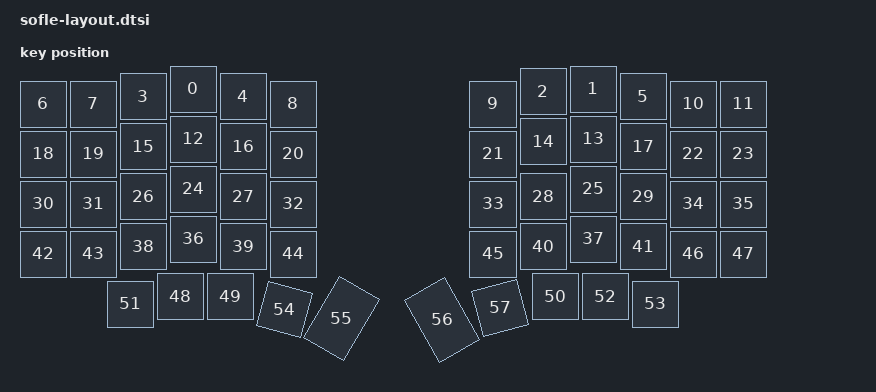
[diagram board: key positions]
#include <physical_layouts.dtsi>

/ {
    sofle_layout: sofle_layout {
        compatible = "zmk,physical-layout";
        display-name = "Default";

        keys  //                     w   h    x    y     rot    rx    ry
            = <&key_physical_attrs 100 100  300   20       0     0     0>
            , <&key_physical_attrs 100 100 1100   20       0     0     0>
            , <&key_physical_attrs 100 100 1000   25       0     0     0>
            , <&key_physical_attrs 100 100  200   35       0     0     0>
            , <&key_physical_attrs 100 100  400   35       0     0     0>
            , <&key_physical_attrs 100 100 1200   35       0     0     0>
            , <&key_physical_attrs 100 100    0   50       0     0     0>
            , <&key_physical_attrs 100 100  100   50       0     0     0>
            , <&key_physical_attrs 100 100  500   50       0     0     0>
            , <&key_physical_attrs 100 100  900   50       0     0     0>
            , <&key_physical_attrs 100 100 1300   50       0     0     0>
            , <&key_physical_attrs 100 100 1400   50       0     0     0>
            , <&key_physical_attrs 100 100  300  120       0     0     0>
            , <&key_physical_attrs 100 100 1100  120       0     0     0>
            , <&key_physical_attrs 100 100 1000  125       0     0     0>
            , <&key_physical_attrs 100 100  200  135       0     0     0>
            , <&key_physical_attrs 100 100  400  135       0     0     0>
            , <&key_physical_attrs 100 100 1200  135       0     0     0>
            , <&key_physical_attrs 100 100    0  150       0     0     0>
            , <&key_physical_attrs 100 100  100  150       0     0     0>
            , <&key_physical_attrs 100 100  500  150       0     0     0>
            , <&key_physical_attrs 100 100  900  150       0     0     0>
            , <&key_physical_attrs 100 100 1300  150       0     0     0>
            , <&key_physical_attrs 100 100 1400  150       0     0     0>
            , <&key_physical_attrs 100 100  300  220       0     0     0>
            , <&key_physical_attrs 100 100 1100  220       0     0     0>
            , <&key_physical_attrs 100 100  200  235       0     0     0>
            , <&key_physical_attrs 100 100  400  235       0     0     0>
            , <&key_physical_attrs 100 100 1000  235       0     0     0>
            , <&key_physical_attrs 100 100 1200  235       0     0     0>
            , <&key_physical_attrs 100 100    0  250       0     0     0>
            , <&key_physical_attrs 100 100  100  250       0     0     0>
            , <&key_physical_attrs 100 100  500  250       0     0     0>
            , <&key_physical_attrs 100 100  900  250       0     0     0>
            , <&key_physical_attrs 100 100 1300  250       0     0     0>
            , <&key_physical_attrs 100 100 1400  250       0     0     0>
            , <&key_physical_attrs 100 100  300  320       0     0     0>
            , <&key_physical_attrs 100 100 1100  320       0     0     0>
            , <&key_physical_attrs 100 100  200  335       0     0     0>
            , <&key_physical_attrs 100 100  400  335       0     0     0>
            , <&key_physical_attrs 100 100 1000  335       0     0     0>
            , <&key_physical_attrs 100 100 1200  335       0     0     0>
            , <&key_physical_attrs 100 100    0  350       0     0     0>
            , <&key_physical_attrs 100 100  100  350       0     0     0>
            , <&key_physical_attrs 100 100  500  350       0     0     0>
            , <&key_physical_attrs 100 100  900  350       0     0     0>
            , <&key_physical_attrs 100 100 1300  350       0     0     0>
            , <&key_physical_attrs 100 100 1400  350       0     0     0>
            , <&key_physical_attrs 100 100  275  435       0     0     0>
            , <&key_physical_attrs 100 100  375  435       0     0     0>
            , <&key_physical_attrs 100 100 1025  435       0     0     0>
            , <&key_physical_attrs 100 100  175  450       0     0     0>
            , <&key_physical_attrs 100 100 1125  435       0    25     0>
            , <&key_physical_attrs 100 100 1225  450       0    50     0>
            , <&key_physical_attrs 100 100  600  325    1500    75     0>
            , <&key_physical_attrs 100 150  775   60    3000     0     0>
            , <&key_physical_attrs 100 150  425  785 (-3000)    50     0>
            , <&key_physical_attrs 100 100  750  690 (-1500)     0     0>
            ;
    };
  };
